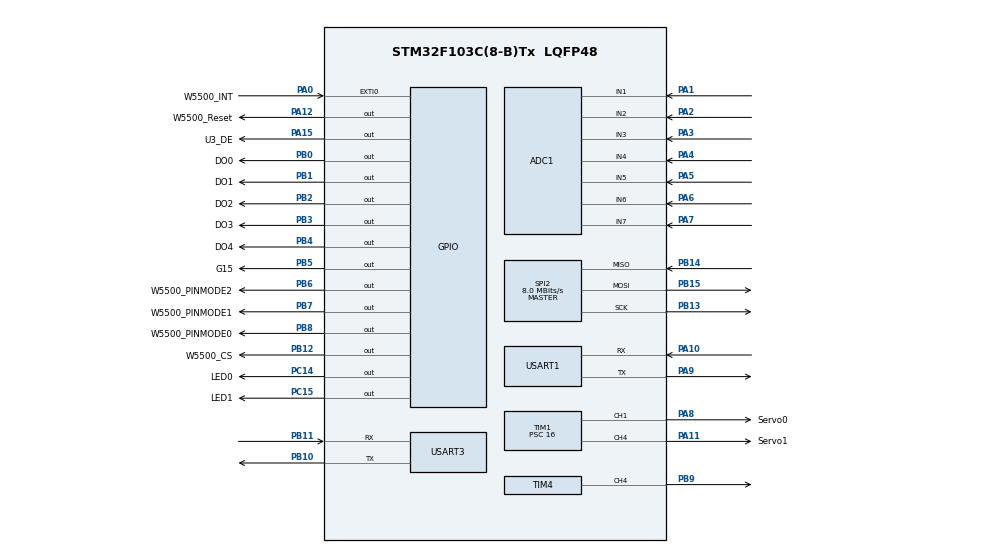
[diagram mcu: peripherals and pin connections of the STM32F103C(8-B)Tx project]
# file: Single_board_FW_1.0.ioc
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ADC1.Channel-0\#ChannelRegularConversion=ADC_CHANNEL_1
ADC1.NbrOfConversionFlag=1
ADC1.Rank-0\#ChannelRegularConversion=1
ADC1.SamplingTime-0\#ChannelRegularConversion=ADC_SAMPLETIME_1CYCLE_5
ADC1.master=1
Dma.ADC1.2.Direction=DMA_PERIPH_TO_MEMORY
Dma.ADC1.2.Instance=DMA1_Channel1
Dma.ADC1.2.MemDataAlignment=DMA_MDATAALIGN_HALFWORD
Dma.ADC1.2.MemInc=DMA_MINC_ENABLE
Dma.ADC1.2.Mode=DMA_NORMAL
Dma.ADC1.2.PeriphDataAlignment=DMA_PDATAALIGN_HALFWORD
Dma.ADC1.2.PeriphInc=DMA_PINC_DISABLE
Dma.ADC1.2.Priority=DMA_PRIORITY_LOW
Dma.Request0=USART1_RX
Dma.Request1=USART1_TX
Dma.Request2=ADC1
Dma.Request3=USART3_RX
Dma.Request4=USART3_TX
Dma.USART1_RX.0.Direction=DMA_PERIPH_TO_MEMORY
Dma.USART1_RX.0.Instance=DMA1_Channel5
Dma.USART1_RX.0.MemDataAlignment=DMA_MDATAALIGN_BYTE
Dma.USART1_RX.0.MemInc=DMA_MINC_ENABLE
Dma.USART1_RX.0.Mode=DMA_NORMAL
Dma.USART1_RX.0.PeriphDataAlignment=DMA_PDATAALIGN_BYTE
Dma.USART1_RX.0.PeriphInc=DMA_PINC_DISABLE
Dma.USART1_RX.0.Priority=DMA_PRIORITY_LOW
Dma.USART1_TX.1.Direction=DMA_MEMORY_TO_PERIPH
Dma.USART1_TX.1.Instance=DMA1_Channel4
Dma.USART1_TX.1.MemDataAlignment=DMA_MDATAALIGN_BYTE
Dma.USART1_TX.1.MemInc=DMA_MINC_ENABLE
Dma.USART1_TX.1.Mode=DMA_NORMAL
Dma.USART1_TX.1.PeriphDataAlignment=DMA_PDATAALIGN_BYTE
Dma.USART1_TX.1.PeriphInc=DMA_PINC_DISABLE
Dma.USART1_TX.1.Priority=DMA_PRIORITY_LOW
Dma.USART3_RX.3.Direction=DMA_PERIPH_TO_MEMORY
Dma.USART3_RX.3.Instance=DMA1_Channel3
Dma.USART3_RX.3.MemDataAlignment=DMA_MDATAALIGN_BYTE
Dma.USART3_RX.3.MemInc=DMA_MINC_ENABLE
Dma.USART3_RX.3.Mode=DMA_NORMAL
Dma.USART3_RX.3.PeriphDataAlignment=DMA_PDATAALIGN_BYTE
Dma.USART3_RX.3.PeriphInc=DMA_PINC_DISABLE
Dma.USART3_RX.3.Priority=DMA_PRIORITY_LOW
Dma.USART3_TX.4.Direction=DMA_MEMORY_TO_PERIPH
Dma.USART3_TX.4.Instance=DMA1_Channel2
Dma.USART3_TX.4.MemDataAlignment=DMA_MDATAALIGN_BYTE
Dma.USART3_TX.4.MemInc=DMA_MINC_ENABLE
Dma.USART3_TX.4.Mode=DMA_NORMAL
Dma.USART3_TX.4.PeriphDataAlignment=DMA_PDATAALIGN_BYTE
Dma.USART3_TX.4.PeriphInc=DMA_PINC_DISABLE
Dma.USART3_TX.4.Priority=DMA_PRIORITY_LOW
IWDG.Prescaler=IWDG_PRESCALER_32
Mcu.Family=STM32F1
Mcu.Name=STM32F103C(8-B)Tx
Mcu.Package=LQFP48
NVIC.DMA1_Channel1_IRQn=true\:0\:0\:false\:false\:true\:false\:true\:true
NVIC.DMA1_Channel2_IRQn=true\:0\:0\:false\:false\:true\:false\:true\:true
NVIC.DMA1_Channel3_IRQn=true\:0\:0\:false\:false\:true\:false\:true\:true
NVIC.DMA1_Channel4_IRQn=true\:0\:0\:false\:false\:true\:false\:true\:true
NVIC.DMA1_Channel5_IRQn=true\:0\:0\:false\:false\:true\:false\:true\:true
NVIC.PriorityGroup=NVIC_PRIORITYGROUP_4
NVIC.TIM3_IRQn=true\:0\:0\:false\:false\:true\:true\:true\:true
NVIC.USART1_IRQn=true\:0\:0\:false\:false\:true\:true\:true\:true
NVIC.USART3_IRQn=true\:0\:0\:false\:false\:true\:true\:true\:true
PA0-WKUP.GPIO_Label=W5500_INT
PA0-WKUP.Signal=GPXTI0
PA1.Signal=ADCx_IN1
PA10.Mode=Asynchronous
PA10.Signal=USART1_RX
PA11.GPIO_Label=Servo1
PA11.Signal=S_TIM1_CH4
PA12.GPIO_Label=W5500_Reset
PA12.Signal=GPIO_Output
PA13.Mode=Serial_Wire
PA13.Signal=SYS_JTMS-SWDIO
PA14.Mode=Serial_Wire
PA14.Signal=SYS_JTCK-SWCLK
PA15.GPIO_Label=U3_DE
PA15.Signal=GPIO_Output
PA2.Signal=ADCx_IN2
PA3.Signal=ADCx_IN3
PA4.Signal=ADCx_IN4
PA5.Signal=ADCx_IN5
PA6.Signal=ADCx_IN6
PA7.Signal=ADCx_IN7
PA8.GPIO_Label=Servo0
PA8.Signal=S_TIM1_CH1
PA9.Mode=Asynchronous
PA9.Signal=USART1_TX
PB0.GPIO_Label=DO0
PB0.Signal=GPIO_Output
PB1.GPIO_Label=DO1
PB1.Signal=GPIO_Output
PB10.Mode=Asynchronous
PB10.Signal=USART3_TX
PB11.Mode=Asynchronous
PB11.Signal=USART3_RX
PB12.GPIO_Label=W5500_CS
PB12.Signal=GPIO_Output
PB13.Mode=Full_Duplex_Master
PB13.Signal=SPI2_SCK
PB14.Mode=Full_Duplex_Master
PB14.Signal=SPI2_MISO
PB15.Mode=Full_Duplex_Master
PB15.Signal=SPI2_MOSI
PB2.GPIO_Label=DO2
PB2.Signal=GPIO_Output
PB3.GPIO_Label=DO3
PB3.Signal=GPIO_Output
PB4.GPIO_Label=DO4
PB4.Signal=GPIO_Output
PB5.GPIO_Label=G15
PB5.Signal=GPIO_Output
PB6.GPIO_Label=W5500_PINMODE2
PB6.Signal=GPIO_Output
PB7.GPIO_Label=W5500_PINMODE1
PB7.Signal=GPIO_Output
PB8.GPIO_Label=W5500_PINMODE0
PB8.Signal=GPIO_Output
PB9.Signal=S_TIM4_CH4
PC14-OSC32_IN.GPIO_Label=LED0
PC14-OSC32_IN.Signal=GPIO_Output
PC15-OSC32_OUT.GPIO_Label=LED1
PC15-OSC32_OUT.Signal=GPIO_Output
PD0-OSC_IN.Mode=HSE-External-Oscillator
PD0-OSC_IN.Signal=RCC_OSC_IN
PD1-OSC_OUT.Mode=HSE-External-Oscillator
PD1-OSC_OUT.Signal=RCC_OSC_OUT
ProjectManager.HeapSize=0x200
ProjectManager.StackSize=0x400
ProjectManager.TargetToolchain=CMake
RCC.AHBFreq_Value=16000000
RCC.APB1Freq_Value=16000000
RCC.APB1TimFreq_Value=16000000
RCC.APB2Freq_Value=16000000
RCC.APB2TimFreq_Value=16000000
RCC.HCLKFreq_Value=16000000
RCC.HSE_VALUE=16000000
RCC.PLLSourceVirtual=RCC_PLLSOURCE_HSE
RCC.SYSCLKFreq_VALUE=16000000
RCC.SYSCLKSource=RCC_SYSCLKSOURCE_HSE
RCC.USBFreq_Value=32000000
SH.ADCx_IN1.0=ADC1_IN1,IN1
SH.ADCx_IN2.0=ADC1_IN2,IN2
SH.ADCx_IN3.0=ADC1_IN3,IN3
SH.ADCx_IN4.0=ADC1_IN4,IN4
SH.ADCx_IN5.0=ADC1_IN5,IN5
SH.ADCx_IN6.0=ADC1_IN6,IN6
SH.ADCx_IN7.0=ADC1_IN7,IN7
SH.S_TIM1_CH1.0=TIM1_CH1,PWM Generation1 CH1
SH.S_TIM1_CH4.0=TIM1_CH4,PWM Generation4 CH4
SH.S_TIM4_CH4.0=TIM4_CH4,PWM Generation4 CH4
SPI2.CalculateBaudRate=8.0 MBits/s
SPI2.Direction=SPI_DIRECTION_2LINES
SPI2.Mode=SPI_MODE_MASTER
SPI2.VirtualType=VM_MASTER
TIM1.AutoReloadPreload=TIM_AUTORELOAD_PRELOAD_ENABLE
TIM1.Channel-PWM\ Generation1\ CH1=TIM_CHANNEL_1
TIM1.Channel-PWM\ Generation4\ CH4=TIM_CHANNEL_4
TIM1.ClockDivision=TIM_CLOCKDIVISION_DIV1
TIM1.Period=20000
TIM1.Prescaler=16
TIM3.AutoReloadPreload=TIM_AUTORELOAD_PRELOAD_ENABLE
TIM3.Period=1000
TIM3.Prescaler=16000
TIM4.AutoReloadPreload=TIM_AUTORELOAD_PRELOAD_ENABLE
TIM4.Channel-PWM\ Generation4\ CH4=TIM_CHANNEL_4
TIM4.OCPolarity_4=TIM_OCPOLARITY_LOW
TIM4.Period=255
TIM4.Prescaler=12
TIM4.Pulse-PWM\ Generation4\ CH4=254
USART1.VirtualMode=VM_ASYNC
USART3.VirtualMode=VM_ASYNC
VP_CRC_VS_CRC.Mode=CRC_Activate
VP_IWDG_VS_IWDG.Mode=IWDG_Activate
VP_TIM3_VS_ClockSourceINT.Mode=Internal
VP_TIM4_VS_ClockSourceINT.Mode=Internal
board=custom

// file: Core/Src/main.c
/* USER CODE BEGIN Header */
/**
  ******************************************************************************
  * @file           : main.c
  * @brief          : Main program body
  ******************************************************************************
  * @attention
  *
  * Copyright (c) 2026 STMicroelectronics.
  * All rights reserved.
  *
  * This software is licensed under terms that can be found in the LICENSE file
  * in the root directory of this software component.
  * If no LICENSE file comes with this software, it is provided AS-IS.
  *
  ******************************************************************************
  */
/* USER CODE END Header */
#include "main.h"

/* USER CODE BEGIN Includes */
#include "azimuth_service.h"
#include "fw_update.h"
#include "position_service.h"
#include "pwm_service.h"
#include "settings_service.h"
#include "uart_commands.h"
#include "w5500.h"

/* USER CODE END Includes */

ADC_HandleTypeDef hadc1;
DMA_HandleTypeDef hdma_adc1;

SPI_HandleTypeDef hspi2;

TIM_HandleTypeDef htim1;
TIM_HandleTypeDef htim3;
TIM_HandleTypeDef htim4;

UART_HandleTypeDef huart1;
UART_HandleTypeDef huart3;
DMA_HandleTypeDef hdma_usart1_rx;
DMA_HandleTypeDef hdma_usart1_tx;
DMA_HandleTypeDef hdma_usart3_rx;
DMA_HandleTypeDef hdma_usart3_tx;

void SystemClock_Config(void);
static void MX_GPIO_Init(void);
static void MX_DMA_Init(void);
static void MX_ADC1_Init(void);
static void MX_SPI2_Init(void);
static void MX_TIM1_Init(void);
static void MX_TIM4_Init(void);
static void MX_USART1_UART_Init(void);
static void MX_USART3_UART_Init(void);
static void MX_IWDG_Init(void);
static void MX_CRC_Init(void);
static void MX_TIM3_Init(void);

/* USER CODE BEGIN 0 */

#define GPIO_SetPin(port, pin) ((port)->BSRR = (pin))
#define GPIO_ResetPin(port, pin) ((port)->BRR = (pin))
void UART1_SendString(const char *text);
uint8_t led_state;
uint8_t recovery_mode;

static void LED_SetBlinkState(uint8_t state)
{
  if (recovery_mode != 0U)
  {
    if (state != 0U)
    {
      GPIO_SetPin(LED0_GPIO_Port, LED0_Pin);
      GPIO_SetPin(LED1_GPIO_Port, LED1_Pin);
    }
    else
    {
      GPIO_ResetPin(LED0_GPIO_Port, LED0_Pin);
      GPIO_ResetPin(LED1_GPIO_Port, LED1_Pin);
    }
    return;
  }

  if (state != 0U)
  {
    GPIO_SetPin(LED0_GPIO_Port, LED0_Pin);
    GPIO_ResetPin(LED1_GPIO_Port, LED1_Pin);
  }
  else
  {
    GPIO_ResetPin(LED0_GPIO_Port, LED0_Pin);
    GPIO_SetPin(LED1_GPIO_Port, LED1_Pin);
  }
}

static uint8_t Recovery_IsRequested(void)
{
  static const uint8_t text[] = "[Starting]\n\r";
  uint8_t index;

  __HAL_UART_CLEAR_OREFLAG(&huart1);
  __HAL_UART_CLEAR_FEFLAG(&huart1);
  __HAL_UART_CLEAR_NEFLAG(&huart1);

  for (index = 0U; index < (sizeof(text) - 1U); index++)
  {
    uint8_t received;

    if (HAL_UART_Transmit(&huart1, (uint8_t *)&text[index], 1U, 10U) != HAL_OK)
    {
      return 0U;
    }

    if (HAL_UART_Receive(&huart1, &received, 1U, 10U) != HAL_OK)
    {
      return 0U;
    }

    if (received != text[index])
    {
      return 0U;
    }
  }

  return 1U;
}

static void Recovery_ApplyRamSettings(void)
{
  Settings_t settings = *Settings_Get();

  settings.use_dhcp = 1U;
  settings.web_auth_enabled = 0U;
  Settings_Set(&settings);
}
/* USER CODE END 0 */

int main(void)
{

  /* MCU Configuration--------------------------------------------------------*/

  /* Reset of all peripherals, Initializes the Flash interface and the Systick. */
  HAL_Init();

  /* Configure the system clock */
  SystemClock_Config();

  /* Initialize all configured peripherals */
  MX_GPIO_Init();
  MX_DMA_Init();
  MX_ADC1_Init();
  MX_SPI2_Init();
  MX_TIM1_Init();
  MX_TIM4_Init();
  MX_USART1_UART_Init();
  MX_USART3_UART_Init();
  MX_IWDG_Init();
  MX_CRC_Init();
  MX_TIM3_Init();
  /* USER CODE BEGIN 2 */
  Settings_Load();
  if (Recovery_IsRequested() != 0U)
  {
    recovery_mode = 1U;
    Recovery_ApplyRamSettings();
  }
  PWM_ServiceInit(&htim1);
  Position_ServiceInit();
  Az_ApplyLimits();
  {
    /* No boot position (0) -> hold where the servo stood before the power loss, so the output is on
     * and the position (and azimuth) is known right away. Without a log entry it stays off as before. */
    uint16_t start1 = Settings_Get()->default_servo1;
    uint16_t start2 = Settings_Get()->default_servo2;

    if (start1 == 0U)
    {
      start1 = PWM_ServiceGetKnownPosition(0U);
    }
    if (start2 == 0U)
    {
      start2 = PWM_ServiceGetKnownPosition(1U);
    }
    PWM_ServiceApplyDefaults(start1, start2,
                             Settings_Get()->default_servo1_speed,
                             Settings_Get()->default_servo2_speed);
  }
  W5500_Init(&hspi2, &huart1);
  FW_UpdateInit(&hspi2);
  if (W5500_IsInitialized())
  {
    if (Settings_Get()->use_dhcp == 0U)
    {
      W5500_ApplySettingsNetwork();
    }
    else
    {
      uint8_t dhcp_failures = 0U;
      uint8_t dhcp_limit = Settings_Get()->dhcp_fallback_attempts;
      uint32_t link_check;
      UART1_SendString("Link waiting");
      GPIO_SetPin(LED0_GPIO_Port, LED0_Pin);
      for (link_check = 0U; (dhcp_limit == 0U) || (dhcp_failures < dhcp_limit); link_check++)
      {
        led_state ^= 1U;
        // if (led_state) GPIO_SetPin(LED0_GPIO_Port, LED0_Pin); else GPIO_ResetPin(LED0_GPIO_Port, LED0_Pin);
        if (led_state) GPIO_SetPin(LED1_GPIO_Port, LED1_Pin); else GPIO_ResetPin(LED1_GPIO_Port, LED1_Pin);
        if (W5500_IsLinkUp())
        {
          if (W5500_RunDhcp() != 0U)
          {
            goto link_ok;
          }
          dhcp_failures++;
          UART1_SendString("dhcp=fail\r\n");
        }
        else if (link_check < 10U)
        {
          UART1_SendString(".");
        }
        else
        {
          dhcp_failures++;
          link_check = 0U;
          UART1_SendString("link=down\r\n");
        }
        HAL_Delay(500U);
        IWDG->KR = LL_IWDG_KEY_RELOAD; // Reload watchdog
      }
      UART1_SendString("\r\nDHCP fallback to static\r\n");
      W5500_ApplySettingsNetwork();
    }
  }
  link_ok:
  IWDG->KR = LL_IWDG_KEY_RELOAD; // Reload watchdog
  W5500_SendIpInfo();
  UART_CommandInit(&huart1);
  UART_CommandStartReceive();

  /* USER CODE END 2 */

  /* Infinite loop */
  while (1)
  {

    /* USER CODE BEGIN 3 */
    static uint32_t led_tick;

    UART_CommandProcess();
    W5500_WebService();
    PWM_ServiceTask();
    Position_ServiceTask();
    if (FW_UpdateIsRamServerRequested())
    {
      HAL_UART_DMAStop(&huart1);
      FW_UpdateEnterRamServer();
    }

    if ((HAL_GetTick() - led_tick) >= 100U)
    {
      led_tick = HAL_GetTick();
      led_state ^= 1U;
      LED_SetBlinkState(led_state);
    }
    IWDG->KR = LL_IWDG_KEY_RELOAD; // Reload watchdog
  }
  /* USER CODE END 3 */
}

void SystemClock_Config(void)
{
  LL_FLASH_SetLatency(LL_FLASH_LATENCY_0);
  while(LL_FLASH_GetLatency()!= LL_FLASH_LATENCY_0)
  {
  }
  LL_RCC_HSE_Enable();

   /* Wait till HSE is ready */
  while(LL_RCC_HSE_IsReady() != 1)
  {

  }
  LL_RCC_LSI_Enable();

   /* Wait till LSI is ready */
  while(LL_RCC_LSI_IsReady() != 1)
  {

  }
  LL_RCC_SetAHBPrescaler(LL_RCC_SYSCLK_DIV_1);
  LL_RCC_SetAPB1Prescaler(LL_RCC_APB1_DIV_1);
  LL_RCC_SetAPB2Prescaler(LL_RCC_APB2_DIV_1);
  LL_RCC_SetSysClkSource(LL_RCC_SYS_CLKSOURCE_HSE);

   /* Wait till System clock is ready */
  while(LL_RCC_GetSysClkSource() != LL_RCC_SYS_CLKSOURCE_STATUS_HSE)
  {

  }
  LL_SetSystemCoreClock(16000000);

   /* Update the time base */
  if (HAL_InitTick (TICK_INT_PRIORITY) != HAL_OK)
  {
    Error_Handler();
  }
  LL_RCC_SetADCClockSource(LL_RCC_ADC_CLKSRC_PCLK2_DIV_2);
}

static void MX_ADC1_Init(void)
{

  ADC_ChannelConfTypeDef sConfig = {0};

  /** Common config
  */
  hadc1.Instance = ADC1;
  hadc1.Init.ScanConvMode = ADC_SCAN_DISABLE;
  hadc1.Init.ContinuousConvMode = DISABLE;
  hadc1.Init.DiscontinuousConvMode = DISABLE;
  hadc1.Init.ExternalTrigConv = ADC_SOFTWARE_START;
  hadc1.Init.DataAlign = ADC_DATAALIGN_RIGHT;
  hadc1.Init.NbrOfConversion = 1;
  if (HAL_ADC_Init(&hadc1) != HAL_OK)
  {
    Error_Handler();
  }

  /** Configure Regular Channel
  */
  sConfig.Channel = ADC_CHANNEL_1;
  sConfig.Rank = ADC_REGULAR_RANK_1;
  sConfig.SamplingTime = ADC_SAMPLETIME_1CYCLE_5;
  if (HAL_ADC_ConfigChannel(&hadc1, &sConfig) != HAL_OK)
  {
    Error_Handler();
  }

}

static void MX_CRC_Init(void)
{

  /* Peripheral clock enable */
  LL_AHB1_GRP1_EnableClock(LL_AHB1_GRP1_PERIPH_CRC);

}

static void MX_IWDG_Init(void)
{

  LL_IWDG_Enable(IWDG);
  LL_IWDG_EnableWriteAccess(IWDG);
  LL_IWDG_SetPrescaler(IWDG, LL_IWDG_PRESCALER_32);
  LL_IWDG_SetReloadCounter(IWDG, 4095);
  while (LL_IWDG_IsReady(IWDG) != 1)
  {
  }

  LL_IWDG_ReloadCounter(IWDG);

}

static void MX_SPI2_Init(void)
{

  /* SPI2 parameter configuration*/
  hspi2.Instance = SPI2;
  hspi2.Init.Mode = SPI_MODE_MASTER;
  hspi2.Init.Direction = SPI_DIRECTION_2LINES;
  hspi2.Init.DataSize = SPI_DATASIZE_8BIT;
  hspi2.Init.CLKPolarity = SPI_POLARITY_LOW;
  hspi2.Init.CLKPhase = SPI_PHASE_1EDGE;
  hspi2.Init.NSS = SPI_NSS_SOFT;
  hspi2.Init.BaudRatePrescaler = SPI_BAUDRATEPRESCALER_2;
  hspi2.Init.FirstBit = SPI_FIRSTBIT_MSB;
  hspi2.Init.TIMode = SPI_TIMODE_DISABLE;
  hspi2.Init.CRCCalculation = SPI_CRCCALCULATION_DISABLE;
  hspi2.Init.CRCPolynomial = 10;
  if (HAL_SPI_Init(&hspi2) != HAL_OK)
  {
    Error_Handler();
  }

}

static void MX_TIM1_Init(void)
{

  TIM_MasterConfigTypeDef sMasterConfig = {0};
  TIM_OC_InitTypeDef sConfigOC = {0};
  TIM_BreakDeadTimeConfigTypeDef sBreakDeadTimeConfig = {0};

  htim1.Instance = TIM1;
  htim1.Init.Prescaler = 15;
  htim1.Init.CounterMode = TIM_COUNTERMODE_UP;
  htim1.Init.Period = 19999;
  htim1.Init.ClockDivision = TIM_CLOCKDIVISION_DIV1;
  htim1.Init.RepetitionCounter = 0;
  htim1.Init.AutoReloadPreload = TIM_AUTORELOAD_PRELOAD_ENABLE;
  if (HAL_TIM_PWM_Init(&htim1) != HAL_OK)
  {
    Error_Handler();
  }
  sMasterConfig.MasterOutputTrigger = TIM_TRGO_RESET;
  sMasterConfig.MasterSlaveMode = TIM_MASTERSLAVEMODE_DISABLE;
  if (HAL_TIMEx_MasterConfigSynchronization(&htim1, &sMasterConfig) != HAL_OK)
  {
    Error_Handler();
  }
  sConfigOC.OCMode = TIM_OCMODE_PWM1;
  sConfigOC.Pulse = 0;
  sConfigOC.OCPolarity = TIM_OCPOLARITY_HIGH;
  sConfigOC.OCNPolarity = TIM_OCNPOLARITY_HIGH;
  sConfigOC.OCFastMode = TIM_OCFAST_DISABLE;
  sConfigOC.OCIdleState = TIM_OCIDLESTATE_RESET;
  sConfigOC.OCNIdleState = TIM_OCNIDLESTATE_RESET;
  if (HAL_TIM_PWM_ConfigChannel(&htim1, &sConfigOC, TIM_CHANNEL_1) != HAL_OK)
  {
    Error_Handler();
  }
  if (HAL_TIM_PWM_ConfigChannel(&htim1, &sConfigOC, TIM_CHANNEL_4) != HAL_OK)
  {
    Error_Handler();
  }
  sBreakDeadTimeConfig.OffStateRunMode = TIM_OSSR_DISABLE;
  sBreakDeadTimeConfig.OffStateIDLEMode = TIM_OSSI_DISABLE;
  sBreakDeadTimeConfig.LockLevel = TIM_LOCKLEVEL_OFF;
  sBreakDeadTimeConfig.DeadTime = 0;
  sBreakDeadTimeConfig.BreakState = TIM_BREAK_DISABLE;
  sBreakDeadTimeConfig.BreakPolarity = TIM_BREAKPOLARITY_HIGH;
  sBreakDeadTimeConfig.AutomaticOutput = TIM_AUTOMATICOUTPUT_DISABLE;
  if (HAL_TIMEx_ConfigBreakDeadTime(&htim1, &sBreakDeadTimeConfig) != HAL_OK)
  {
    Error_Handler();
  }
  HAL_TIM_MspPostInit(&htim1);

}

static void MX_TIM3_Init(void)
{

  TIM_ClockConfigTypeDef sClockSourceConfig = {0};
  TIM_MasterConfigTypeDef sMasterConfig = {0};

  htim3.Instance = TIM3;
  htim3.Init.Prescaler = 16000;
  htim3.Init.CounterMode = TIM_COUNTERMODE_UP;
  htim3.Init.Period = 1000;
  htim3.Init.ClockDivision = TIM_CLOCKDIVISION_DIV1;
  htim3.Init.AutoReloadPreload = TIM_AUTORELOAD_PRELOAD_ENABLE;
  if (HAL_TIM_Base_Init(&htim3) != HAL_OK)
  {
    Error_Handler();
  }
  sClockSourceConfig.ClockSource = TIM_CLOCKSOURCE_INTERNAL;
  if (HAL_TIM_ConfigClockSource(&htim3, &sClockSourceConfig) != HAL_OK)
  {
    Error_Handler();
  }
  sMasterConfig.MasterOutputTrigger = TIM_TRGO_RESET;
  sMasterConfig.MasterSlaveMode = TIM_MASTERSLAVEMODE_DISABLE;
  if (HAL_TIMEx_MasterConfigSynchronization(&htim3, &sMasterConfig) != HAL_OK)
  {
    Error_Handler();
  }

}

static void MX_TIM4_Init(void)
{

  TIM_ClockConfigTypeDef sClockSourceConfig = {0};
  TIM_MasterConfigTypeDef sMasterConfig = {0};
  TIM_OC_InitTypeDef sConfigOC = {0};

  htim4.Instance = TIM4;
  htim4.Init.Prescaler = 12;
  htim4.Init.CounterMode = TIM_COUNTERMODE_UP;
  htim4.Init.Period = 255;
  htim4.Init.ClockDivision = TIM_CLOCKDIVISION_DIV1;
  htim4.Init.AutoReloadPreload = TIM_AUTORELOAD_PRELOAD_ENABLE;
  if (HAL_TIM_Base_Init(&htim4) != HAL_OK)
  {
    Error_Handler();
  }
  sClockSourceConfig.ClockSource = TIM_CLOCKSOURCE_INTERNAL;
  if (HAL_TIM_ConfigClockSource(&htim4, &sClockSourceConfig) != HAL_OK)
  {
    Error_Handler();
  }
  if (HAL_TIM_PWM_Init(&htim4) != HAL_OK)
  {
    Error_Handler();
  }
  sMasterConfig.MasterOutputTrigger = TIM_TRGO_RESET;
  sMasterConfig.MasterSlaveMode = TIM_MASTERSLAVEMODE_DISABLE;
  if (HAL_TIMEx_MasterConfigSynchronization(&htim4, &sMasterConfig) != HAL_OK)
  {
    Error_Handler();
  }
  sConfigOC.OCMode = TIM_OCMODE_PWM1;
  sConfigOC.Pulse = 0;
  sConfigOC.OCPolarity = TIM_OCPOLARITY_LOW;
  sConfigOC.OCFastMode = TIM_OCFAST_DISABLE;
  if (HAL_TIM_PWM_ConfigChannel(&htim4, &sConfigOC, TIM_CHANNEL_4) != HAL_OK)
  {
    Error_Handler();
  }
  HAL_TIM_MspPostInit(&htim4);

}

static void MX_USART1_UART_Init(void)
{

  huart1.Instance = USART1;
  huart1.Init.BaudRate = 115200;
  huart1.Init.WordLength = UART_WORDLENGTH_8B;
  huart1.Init.StopBits = UART_STOPBITS_1;
  huart1.Init.Parity = UART_PARITY_NONE;
  huart1.Init.Mode = UART_MODE_TX_RX;
  huart1.Init.HwFlowCtl = UART_HWCONTROL_NONE;
  huart1.Init.OverSampling = UART_OVERSAMPLING_16;
  if (HAL_UART_Init(&huart1) != HAL_OK)
  {
    Error_Handler();
  }

}

static void MX_USART3_UART_Init(void)
{

  huart3.Instance = USART3;
  huart3.Init.BaudRate = 115200;
  huart3.Init.WordLength = UART_WORDLENGTH_8B;
  huart3.Init.StopBits = UART_STOPBITS_1;
  huart3.Init.Parity = UART_PARITY_NONE;
  huart3.Init.Mode = UART_MODE_TX_RX;
  huart3.Init.HwFlowCtl = UART_HWCONTROL_NONE;
  huart3.Init.OverSampling = UART_OVERSAMPLING_16;
  if (HAL_UART_Init(&huart3) != HAL_OK)
  {
    Error_Handler();
  }

}

static void MX_DMA_Init(void)
{

  /* DMA controller clock enable */
  __HAL_RCC_DMA1_CLK_ENABLE();

  /* DMA interrupt init */
  /* DMA1_Channel1_IRQn interrupt configuration */
  HAL_NVIC_SetPriority(DMA1_Channel1_IRQn, 0, 0);
  HAL_NVIC_EnableIRQ(DMA1_Channel1_IRQn);
  /* DMA1_Channel2_IRQn interrupt configuration */
  HAL_NVIC_SetPriority(DMA1_Channel2_IRQn, 0, 0);
  HAL_NVIC_EnableIRQ(DMA1_Channel2_IRQn);
  /* DMA1_Channel3_IRQn interrupt configuration */
  HAL_NVIC_SetPriority(DMA1_Channel3_IRQn, 0, 0);
  HAL_NVIC_EnableIRQ(DMA1_Channel3_IRQn);
  /* DMA1_Channel4_IRQn interrupt configuration */
  HAL_NVIC_SetPriority(DMA1_Channel4_IRQn, 0, 0);
  HAL_NVIC_EnableIRQ(DMA1_Channel4_IRQn);
  /* DMA1_Channel5_IRQn interrupt configuration */
  HAL_NVIC_SetPriority(DMA1_Channel5_IRQn, 0, 0);
  HAL_NVIC_EnableIRQ(DMA1_Channel5_IRQn);

}

static void MX_GPIO_Init(void)
{
  GPIO_InitTypeDef GPIO_InitStruct = {0};

  /* GPIO Ports Clock Enable */
  __HAL_RCC_GPIOC_CLK_ENABLE();
  __HAL_RCC_GPIOD_CLK_ENABLE();
  __HAL_RCC_GPIOA_CLK_ENABLE();
  __HAL_RCC_GPIOB_CLK_ENABLE();

  /*Configure GPIO pin Output Level */
  HAL_GPIO_WritePin(GPIOC, LED0_Pin|LED1_Pin, GPIO_PIN_RESET);

  /*Configure GPIO pin Output Level */
  HAL_GPIO_WritePin(GPIOB, DO0_Pin|DO1_Pin|DO2_Pin|W5500_CS_Pin
                          |DO3_Pin|DO4_Pin|G15_Pin|W5500_PINMODE2_Pin
                          |W5500_PINMODE1_Pin|W5500_PINMODE0_Pin, GPIO_PIN_RESET);

  /*Configure GPIO pin Output Level */
  HAL_GPIO_WritePin(GPIOA, W5500_Reset_Pin|U3_DE_Pin, GPIO_PIN_RESET);

  /*Configure GPIO pins : LED0_Pin LED1_Pin */
  GPIO_InitStruct.Pin = LED0_Pin|LED1_Pin;
  GPIO_InitStruct.Mode = GPIO_MODE_OUTPUT_PP;
  GPIO_InitStruct.Pull = GPIO_NOPULL;
  GPIO_InitStruct.Speed = GPIO_SPEED_FREQ_LOW;
  HAL_GPIO_Init(GPIOC, &GPIO_InitStruct);

  /*Configure GPIO pin : W5500_INT_Pin */
  GPIO_InitStruct.Pin = W5500_INT_Pin;
  GPIO_InitStruct.Mode = GPIO_MODE_IT_RISING;
  GPIO_InitStruct.Pull = GPIO_NOPULL;
  HAL_GPIO_Init(W5500_INT_GPIO_Port, &GPIO_InitStruct);

  /*Configure GPIO pins : DO0_Pin DO1_Pin DO2_Pin W5500_CS_Pin
                           DO3_Pin DO4_Pin G15_Pin W5500_PINMODE2_Pin
                           W5500_PINMODE1_Pin W5500_PINMODE0_Pin */
  GPIO_InitStruct.Pin = DO0_Pin|DO1_Pin|DO2_Pin|W5500_CS_Pin
                          |DO3_Pin|DO4_Pin|G15_Pin|W5500_PINMODE2_Pin
                          |W5500_PINMODE1_Pin|W5500_PINMODE0_Pin;
  GPIO_InitStruct.Mode = GPIO_MODE_OUTPUT_PP;
  GPIO_InitStruct.Pull = GPIO_NOPULL;
  GPIO_InitStruct.Speed = GPIO_SPEED_FREQ_LOW;
  HAL_GPIO_Init(GPIOB, &GPIO_InitStruct);

  /*Configure GPIO pins : W5500_Reset_Pin U3_DE_Pin */
  GPIO_InitStruct.Pin = W5500_Reset_Pin|U3_DE_Pin;
  GPIO_InitStruct.Mode = GPIO_MODE_OUTPUT_PP;
  GPIO_InitStruct.Pull = GPIO_NOPULL;
  GPIO_InitStruct.Speed = GPIO_SPEED_FREQ_LOW;
  HAL_GPIO_Init(GPIOA, &GPIO_InitStruct);

}

/* USER CODE BEGIN 4 */
void HAL_UART_RxCpltCallback(UART_HandleTypeDef *huart)
{
  UART_CommandRxCpltCallback(huart);
}

/* USER CODE END 4 */

void Error_Handler(void)
{
  __disable_irq();
  while (1)
  {
  }
}
